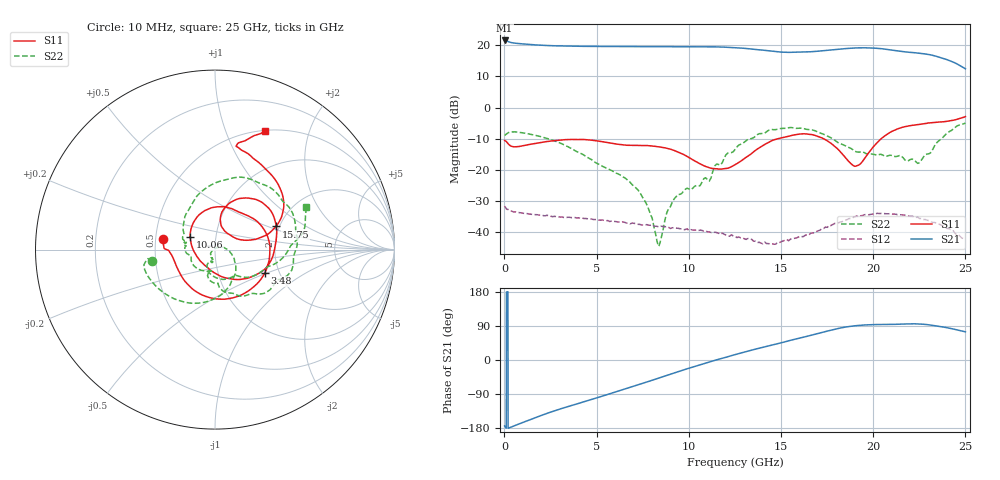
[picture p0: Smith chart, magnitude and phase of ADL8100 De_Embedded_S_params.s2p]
! ADL8100ACPZN De-embedded S-parameters, generated by simulating and removing input and output trace losses of ADL8100-EVALZ evaluation board
! VDD=5 V
! IDQ=220 mA
! RBIAS=560 Ohm
! Temperature=25 degC
! Date: April 8th, 2025
#  GHz  S  DB  R 50
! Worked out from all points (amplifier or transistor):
!   2500 points, 10 MHz to 25 GHz, reference 50 ohm
!   highest |S21| = 21.6 dB at 10 MHz (marker M1)
!   |S21| within 3 dB of that: start of sweep to 13.79 GHz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
!   unconditionally stable (mu >= 1): start of sweep to end of sweep
!   at 4.17 GHz: K = 2.76, MAG = 20.4 dB, |S12| = -35.6 dB
!   at 12.51 GHz: K = 6.08, MAG = 19.5 dB, |S12| = -41.4 dB
!   at 25 GHz: K = 5.53, MAG = 16.9 dB, |S12| = -42.2 dB
!   S11 on the Smith chart (normalised r, x): 10 MHz: 0.55, +0.07; 3.48 GHz: 1.68, -0.48; 10.06 GHz: 0.75, +0.11; 15.75 GHz: 1.92, +0.57; 25 GHz: 0.51, +1.38
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0.01  -10.57 168.5  21.58 -174.0  -31.72 7.0  -8.98 -169.4
0.23  -11.85 -177.9  21.15 -179.5  -32.85 2.0  -8.04 -169.4
1.93  -11.28 -90.9  20.07 -147.5  -34.61 46.1  -9.29 -123.1
3.48  -10.28 -25.2  19.77 -122.4  -35.27 81.0  -12.71 -74.0
4.18  -10.27 0.7  19.69 -112.1  -35.57 93.1  -14.85 -52.8
5.25  -10.92 32.3  19.65 -96.3  -36.20 109.7  -18.64 -24.6
6.25  -11.88 51.4  19.64 -80.9  -36.90 121.6  -21.59 -7.3
7.23  -12.17 67.7  19.61 -65.7  -37.54 131.5  -26.41 15.3
8.34  -12.58 93.0  19.59 -48.2  -38.31 141.6  -44.39 120.0
9.16  -13.70 119.3  19.60 -35.1  -38.64 149.0  -29.80 -139.0
10.06  -16.24 153.4  19.57 -20.9  -39.42 160.5  -26.35 -108.4
11.33  -19.63 -149.8  19.55 -2.2  -40.13 170.0  -20.01 -116.3
12.51  -18.34 -99.1  19.23 14.3  -41.44 -178.9  -13.44 -83.3
13.64  -13.66 -53.6  18.68 29.0  -43.13 -175.7  -9.07 -44.7
15.75  -8.76 20.7  17.82 54.7  -42.06 172.9  -6.62 34.2
16.67  -8.69 47.2  17.97 65.8  -40.35 172.8  -7.19 65.4
18.91  -18.64 62.6  19.14 89.8  -35.33 -162.3  -13.64 148.6
19.93  -13.16 14.5  19.16 93.3  -34.28 -151.3  -14.96 166.4
20.84  -8.27 23.0  18.62 93.6  -34.17 -142.8  -15.43 167.0
22.22  -5.64 53.5  17.66 95.5  -35.15 -125.5  -16.90 -129.6
23.19  -4.87 74.1  16.84 91.6  -36.94 -116.2  -13.89 -47.6
25  -2.91 67.3  12.46 74.3  -42.22 -142.8  -5.00 25.0
